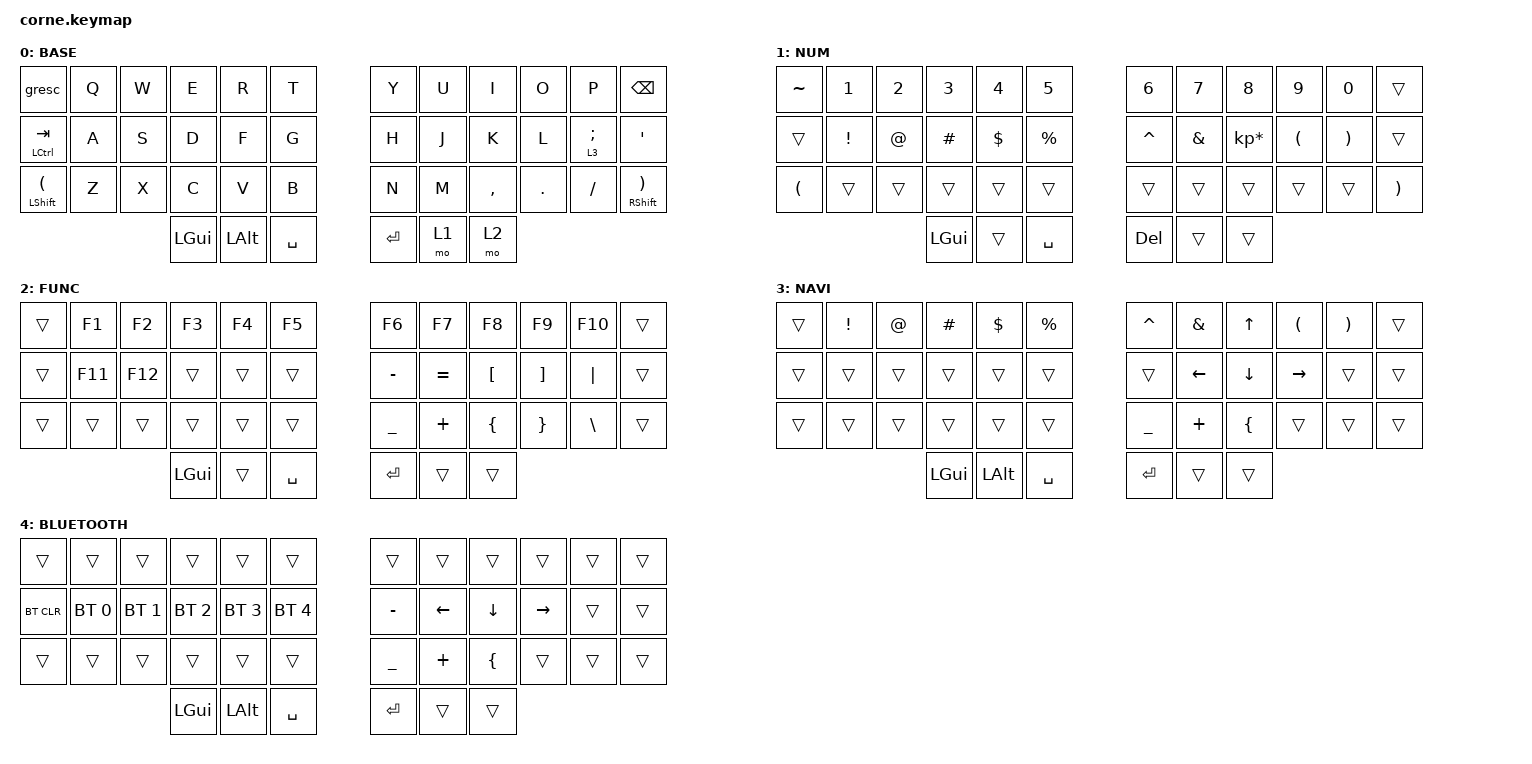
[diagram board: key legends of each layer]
/*
 * Copyright (c) 2020 The ZMK Contributors
 *
 * SPDX-License-Identifier: MIT
 */

#include <behaviors.dtsi>
#include <dt-bindings/zmk/keys.h>
#include <dt-bindings/zmk/bt.h>

#include <dt-bindings/zmk/ext_power.h>

/ {

    conditional_layers {
        compatible = "zmk,conditional-layers";
        tri_layer {
            if-layers = <1 2>;
            then-layer = <4>;
        };
    };


gqt: global-quick-tap {
    compatible = "zmk,behavior-hold-tap";
    label = "GLOBAL_QUICK_TAP";
    #binding-cells = <2>;
    flavor = "hold-preferred";
    tapping-term-ms = <200>;
    quick-tap-ms = <125>;
    global-quick-tap;
    bindings = <&kp>, <&kp>;
};

        keymap {
                compatible = "zmk,keymap";

                default_layer {
                display-name = "BASE";
// -----------------------------------------------------------------------------------------
// | GESC       |  Q  |  W  |  E  |  R  |  T  |               |  Y  |  U   |  I  |  O  |  P     | BKSP |
// | TAB/CTRL   |  A  |  S  |  D  |  F  |  G  |               |  H  |  J   |  K  |  L  |lay3/;  |  '   |
// | SHFT       |  Z  |  X  |  C  |  V  |  B  |               |  N  |  M   |  ,  |  .  |  /     | SHFT |
//                             | GUI | ALT | SPC |         | ENT | LWR  | RSE |
                        bindings = <
   &gresc         &kp Q     &kp W    &kp E  &kp R    &kp T                              &kp Y   &kp U  &kp I     &kp O   &kp P         &kp BSPC
   &mt LCTRL TAB  &kp A     &kp S    &kp D  &kp F    &kp G                              &kp H   &kp J  &kp K     &kp L   &lt 3 SEMI    &kp SQT
   &gqt LSHFT LPAR      &kp Z     &kp X    &kp C  &kp V    &kp B                              &kp N   &kp M  &kp COMMA &kp DOT &kp FSLH      &gqt RSHFT RPAR
                                           &kp LGUI &kp LALT &kp SPACE         &kp RET &mo 1   &mo 2
                        >;
                };
                
                
                
                
                
                1 {
                display-name = "NUM";
// -----------------------------------------------------------------------------------------
// |  GESC   |  1  |  2  |  3  |  4  |  5  |                     |  6  |  7  |  8  |  9  |  0  | BKSP |
// | TAB/CTRL| !   |  @  | #   | $   | %   |                     | ^   | &   |  *  | (   |  )  |      |
// | SHFT    |     |     |     |     |     |                     |     |     |     |     |     |      |
//                           | GUI |     | SPC |                   | DEL |     | ALT |                               
                        bindings = <                                                          
   &kp TILDE     &kp N1       &kp N2       &kp N3       &kp N4       &kp N5                              &kp N6    &kp N7    &kp N8           &kp N9    &kp N0    &trans
   &trans     &kp EXCL     &kp AT       &kp HASH     &kp DLLR     &kp PRCNT                           &kp CARET &kp AMPS  &kp KP_MULTIPLY  &kp LPAR  &kp RPAR  &trans
   &kp LPAR     &trans       &trans       &trans       &trans       &trans                              &trans    &trans    &trans           &trans    &trans    &kp RPAR
                          	                    &kp LGUI     &trans       &kp SPACE              &kp DEL   &trans    &trans
                        >;
                };
                
                
                

                2 {
                display-name = "FUNC";
// -----------------------------------------------------------------------------------------
// | GESC    |  F1   |  F2    |  F3  |  F4  |  F5  |                    |  F6  |  F7  |  F8  |  F9  |  F10  | BKSP |
// | TAB/CTRL|  F11  |  F12   |      |      |       |                   |  -   |  =   |  [   |  ]   |  \    |  `   |
// | SHFT    |       |        |      |      |       |                   |  _   |  +   |  {   |  }   | "|"   |  ~   |
//                                | GUI | ALT | SPC |          | ENT | LWR | RSE |
                        bindings = <
   &trans        &kp  F1   &kp F2    &kp F3   &kp F4   &kp F5                        &kp F6    &kp F7    &kp F8          &kp F9   &kp F10  &trans
   &trans        &kp F11   &kp F12   &trans   &trans   &trans                        &kp MINUS &kp EQUAL &kp LBKT        &kp RBKT &kp PIPE &trans
   &trans        &trans    &trans    &trans   &trans   &trans                        &kp UNDER &kp PLUS  &kp LBRC        &kp RBRC &kp BSLH &trans
                                       &kp LGUI &trans   &kp SPACE                &kp RET   &trans    &trans
                        >;
                };
                

                3 {
                display-name = "NAVI";
// -----------------------------------------------------------------------------------------
// |  GESC      |  !  |  @  |  #  |  $  |  %  |   |  ^  |  &  |  *  |  (  |  )  | BKSP |
// | TAB/CTRL |     |     |     |     |     |   |  -  |  =  |  [  |  ]  |  \  |  `   |
// | SHFT     |     |     |     |     |     |   |  _  |  +  |  {  |  }  | "|" |  ~   |
//                    | GUI |     | SPC |   | ENT |     | ALT |
                        bindings = <
   &trans    &kp EXCL     &kp AT       &kp HASH     &kp DLLR     &kp PRCNT         &kp CARET &kp AMPS  &kp UP          &kp LPAR  &kp RPAR  &trans
   &trans    &trans       &trans       &trans       &trans       &trans            &trans    &kp LEFT  &kp DOWN        &kp RIGHT &trans    &trans
   &trans    &trans       &trans       &trans       &trans       &trans            &kp UNDER &kp PLUS  &kp LBRC        &trans    &trans    &trans
                    	   &kp LGUI     &kp LALT       &kp SPACE    &kp RET           &trans    &trans
                        >;
                }; 


       
                
                4 {
                display-name = "BLUETOOTH";
// -----------------------------------------------------------------------------------------
// |  GESC      |  !  |  @  |  #  |  $  |  %  |   |  ^  |  &  |  *  |  (  |  )  | BKSP |
// | TAB/CTRL |     |     |     |     |     |   |  -  |  =  |  [  |  ]  |  \  |  `   |
// | SHFT     |     |     |     |     |     |   |  _  |  +  |  {  |  }  | "|" |  ~   |
//                    | GUI |     | SPC |   | ENT |     | ALT |
                        bindings = <
   &trans    &trans     &trans      &trans     &trans    &trans        &trans &trans &trans         &trans  &trans  &trans
   &bt BT_CLR          &bt BT_SEL 0 &bt BT_SEL 1 &bt BT_SEL 2 &bt BT_SEL 3 &bt BT_SEL 4      &kp MINUS &kp LEFT  &kp DOWN        &kp RIGHT &trans    &trans
   &trans              &trans       &trans       &trans       &trans       &trans            &kp UNDER &kp PLUS  &kp LBRC        &trans    &trans    &trans
                    	   &kp LGUI     &kp LALT       &kp SPACE    &kp RET           &trans    &trans
                        >;
                };                
                
                
        };
};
